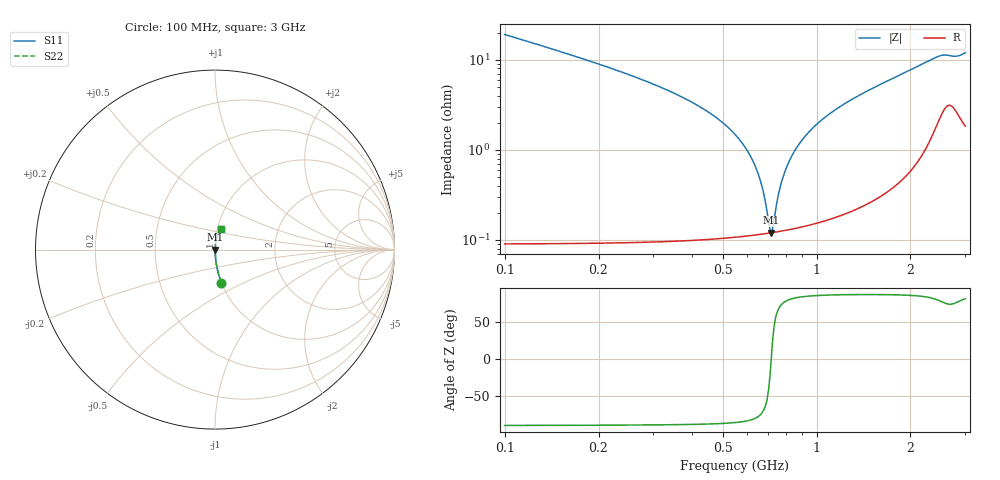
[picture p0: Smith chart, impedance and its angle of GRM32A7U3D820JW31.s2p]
!Murata Part Number: GRM32A7U3D820JW31
!These Parameters are Measured in Series Mode Connection
!Data Generated on Mar 30, 2021
!  o--ll--o
!Port1  Port2
!  o------o
!Operation Temp=25[degC], DC Bias Voltage=0[V]
!Freq. Start=100[MHz] Stop=3[GHz] 401[Steps]
# Hz S RI R 50
!Freq.(Hz) S11(Real) S11(Imag) S21(Real) S21(Imag) S12(Real) S12(Imag) S22(Real) S22(Imag)
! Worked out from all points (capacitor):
!   401 points, 100 MHz to 3 GHz, reference 50 ohm
!   read as one part in series: C = 81.9 pF near 114.5 MHz
!   lowest |Z| = 121 mohm at 716.2 MHz (marker M1)
!   series resonance near 715.6 MHz, so ESL is about 600 pH
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1e8  0.0358 -0.1834  0.9642 0.1834  0.9642 0.1834  0.0358 -0.1834
1.725e8  0.012 -0.1047  0.988 0.1047  0.988 0.1047  0.012 -0.1047
2.5225e8  0.00546 -0.0671  0.9945 0.0671  0.9945 0.0671  0.00546 -0.0671
4.77e8  0.00155 -0.0227  0.9985 0.0227  0.9985 0.0227  0.00155 -0.0227
5.8575e8  0.00122 -0.011  0.9988 0.011  0.9988 0.011  0.00122 -0.011
6.22e8  0.00118 -0.0077  0.9988 0.0077  0.9988 0.0077  0.00118 -0.0077
6.51e8  0.00117 -0.0052  0.9988 0.0052  0.9988 0.0052  0.00117 -0.0052
6.7275e8  0.00118 -0.00339  0.9988 0.00339  0.9988 0.00339  0.00118 -0.00339
7.0175e8  0.00119 -0.00107  0.9988 0.00107  0.9988 0.00107  0.00119 -0.00107
7.1625e8  0.0012 5.16e-05  0.9988 -5.16e-05  0.9988 -5.16e-05  0.0012 5.16e-05
7.3075e8  0.00122 0.00115  0.9988 -0.00115  0.9988 -0.00115  0.00122 0.00115
7.525e8  0.00124 0.00277  0.9988 -0.00277  0.9988 -0.00277  0.00124 0.00277
7.7425e8  0.00128 0.00435  0.9987 -0.00435  0.9987 -0.00435  0.00128 0.00435
8.3225e8  0.00139 0.00838  0.9986 -0.00838  0.9986 -0.00838  0.00139 0.00838
9.265e8  0.00164 0.0145  0.9984 -0.0145  0.9984 -0.0145  0.00164 0.0145
1.0715e9  0.00218 0.0233  0.9978 -0.0233  0.9978 -0.0233  0.00218 0.0233
1.2745e9  0.00324 0.0347  0.9968 -0.0347  0.9968 -0.0347  0.00324 0.0347
1.55e9  0.00532 0.0498  0.9947 -0.0498  0.9947 -0.0498  0.00532 0.0498
2.03575e9  0.0123 0.0777  0.9877 -0.0777  0.9877 -0.0777  0.0123 0.0777
2.5215e9  0.0353 0.1024  0.9647 -0.1024  0.9647 -0.1024  0.0353 0.1024
2.797e9  0.0363 0.0993  0.9637 -0.0993  0.9637 -0.0993  0.0363 0.0993
3e9  0.031 0.1123  0.969 -0.1123  0.969 -0.1123  0.031 0.1123
